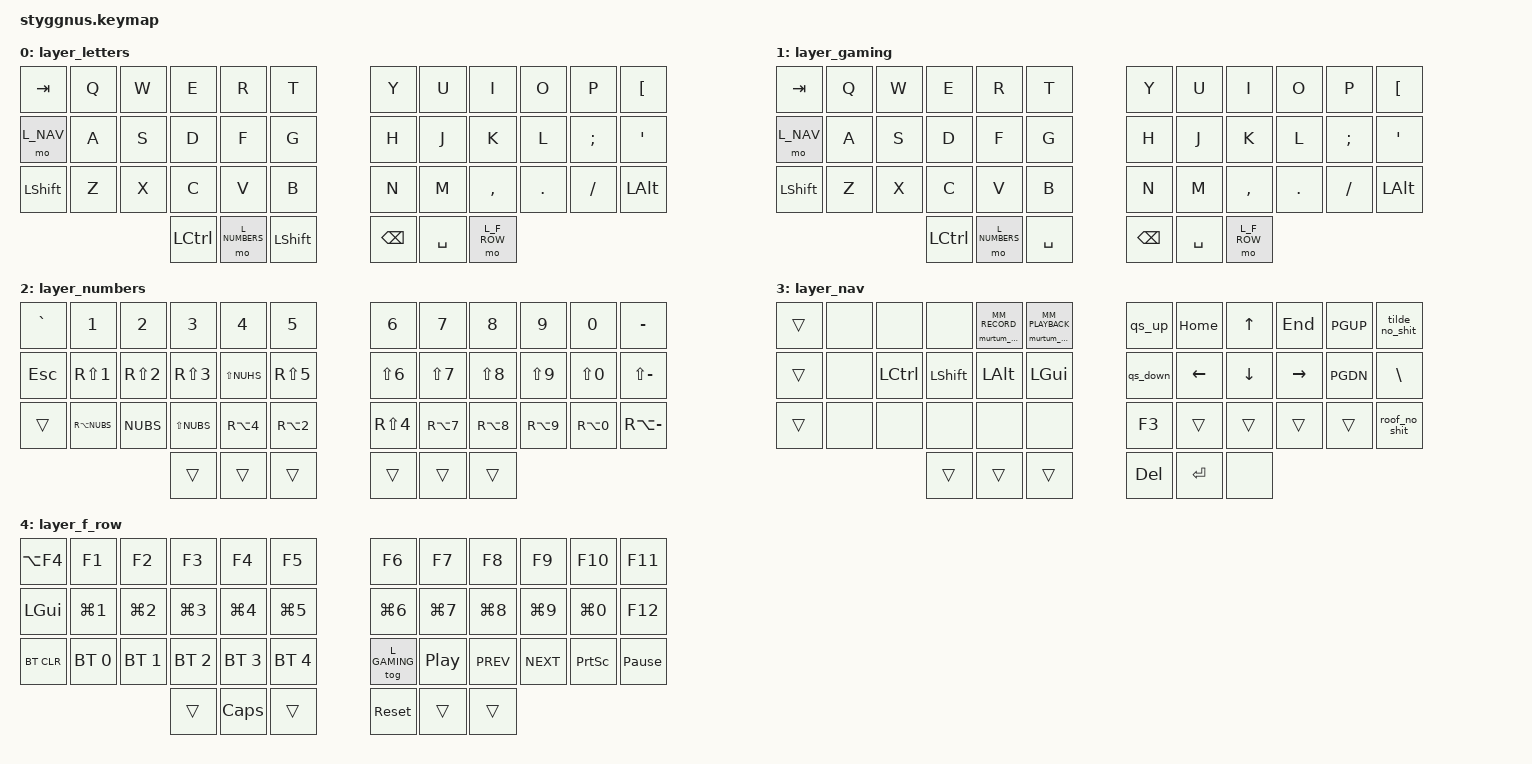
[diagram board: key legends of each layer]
/*
 * Copyright (c) 2020 The ZMK Contributors
 *
 * SPDX-License-Identifier: MIT
 */

#include <behaviors.dtsi>
#include <dt-bindings/zmk/bt.h>
#include <dt-bindings/zmk/keys.h>
#include <../src/behaviors/behavior_murtum_macro.h>

#define L_LETTERS 0
#define L_GAMING 1
#define L_NUMBERS 2
#define L_NAV 3
#define L_F_ROW 4

/ {

  macros {
        ZMK_MACRO(qs_up,
            wait-ms = <0>;
            bindings = <&kp UP &kp UP &kp UP &kp UP &kp UP>;
        )

        ZMK_MACRO(qs_down,
            wait-ms = <0>;
            bindings = <&kp DOWN &kp DOWN &kp DOWN &kp DOWN &kp DOWN>;
        )

        ZMK_MACRO(roof_no_shit,
            wait-ms = <0>;
            bindings = <&kp RS(RBKT) &kp SPACE>;
        )

        ZMK_MACRO(tilde_no_shit,
            wait-ms = <0>;
            bindings = <&kp RA(RBKT) &kp SPACE>;
        )
    };

    keymap {
        compatible = "zmk,keymap";
        
            layer_letters {
                bindings = <
                    &kp TAB   &kp Q &kp W &kp E     &kp R         &kp T        &kp Y    &kp U     &kp I     &kp O   &kp P    &kp LBKT
                    &mo L_NAV &kp A &kp S &kp D     &kp F         &kp G        &kp H    &kp J     &kp K     &kp L   &kp SEMI &kp SQT
                    &kp LSHFT &kp Z &kp X &kp C     &kp V         &kp B        &kp N    &kp M     &kp COMMA &kp DOT &kp FSLH &kp LALT
                                          &kp LCTRL &mo L_NUMBERS &kp LSHFT    &kp BSPC &kp SPACE &mo L_F_ROW
                >;
            };
        
            layer_gaming {
                bindings = <
                    &kp TAB   &kp Q &kp W &kp E    &kp R         &kp T                &kp Y    &kp U     &kp I     &kp O   &kp P     &kp LBKT
                    &mo L_NAV &kp A &kp S &kp D    &kp F         &kp G                &kp H    &kp J     &kp K     &kp L   &kp SEMI  &kp SQT
                    &kp LSHFT &kp Z &kp X &kp C    &kp V         &kp B                &kp N    &kp M     &kp COMMA &kp DOT &kp FSLH &kp LALT
                                          &kp LCTL &mo L_NUMBERS &kp SPACE            &kp BSPC &kp SPACE &mo L_F_ROW
                >;
            };

            layer_numbers {
                bindings = <
                    &kp GRAVE &kp N1       &kp N2     &kp N3       &kp N4       &kp N5          &kp N6     &kp N7     &kp N8     &kp N9     &kp N0     &kp MINUS
                    &kp ESC   &kp RS(N1)   &kp RS(N2) &kp RS(N3)   &kp LS(NUHS) &kp RS(N5)      &kp LS(N6) &kp LS(N7) &kp LS(N8) &kp LS(N9) &kp LS(N0) &kp LS(MINUS)
                    &trans    &kp RA(NUBS) &kp NUBS   &kp LS(NUBS) &kp RA(N4)   &kp RA(N2)      &kp RS(N4) &kp RA(N7) &kp RA(N8) &kp RA(N9) &kp RA(N0) &kp RA(MINUS)
                                                      &trans       &trans       &trans          &trans     &trans     &trans
                >;
            };

            layer_nav {
                bindings = <
                    &trans &none &none     &none     &murtum_macro MM_RECORD &murtum_macro MM_PLAYBACK        &qs_up   &kp HOME  &kp UP   &kp END   &kp PGUP  &tilde_no_shit
                    &trans &none &kp LCTRL &kp LSHFT &kp LALT                &kp LGUI                         &qs_down &kp LEFT  &kp DOWN &kp RIGHT &kp PGDN  &kp BSLH
                    &trans &none &none     &none     &none                   &none                            &kp F3   &trans    &trans   &trans    &trans    &roof_no_shit
                                           &trans    &trans                  &trans                           &kp DEL  &kp ENTER &none
                >;
            };
        
           layer_f_row {
                bindings = <
                    &kp LA(F4)   &kp F1       &kp F2       &kp F3       &kp F4       &kp F5              &kp F6        &kp F7     &kp F8     &kp F9     &kp F10    &kp F11
                    &kp LGUI     &kp LG(N1)   &kp LG(N2)   &kp LG(N3)   &kp LG(N4)   &kp LG(N5)          &kp LG(N6)    &kp LG(N7) &kp LG(N8) &kp LG(N9) &kp LG(N0) &kp F12
                    &bt BT_CLR   &bt BT_SEL 0 &bt BT_SEL 1 &bt BT_SEL 2 &bt BT_SEL 3 &bt BT_SEL 4        &tog L_GAMING &kp C_PP   &kp C_PREV &kp C_NEXT &kp PSCRN  &kp PAUSE_BREAK
                                                           &trans       &kp CAPS     &trans              &sys_reset    &trans     &trans
                >;
            };
            
    };
};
